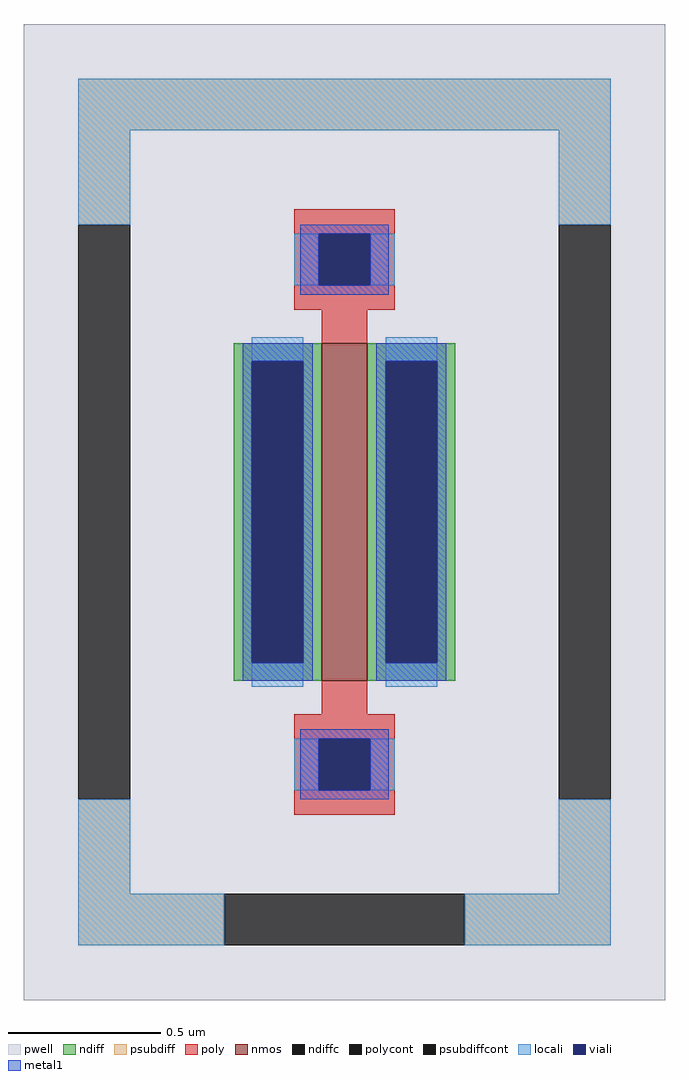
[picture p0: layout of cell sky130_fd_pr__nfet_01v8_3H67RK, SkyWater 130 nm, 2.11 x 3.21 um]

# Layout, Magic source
magic
tech sky130A
magscale 1 2
<< pwell >>
rect -211 -321 211 321
<< nmos >>
rect -15 -111 15 111
<< ndiff >>
rect -73 99 -15 111
rect -73 -99 -61 99
rect -27 -99 -15 99
rect -73 -111 -15 -99
rect 15 99 73 111
rect 15 -99 27 99
rect 61 -99 73 99
rect 15 -111 73 -99
<< ndiffc >>
rect -61 -99 -27 99
rect 27 -99 61 99
<< psubdiff >>
rect -175 251 175 285
rect -175 189 -141 251
rect 141 189 175 251
rect -175 -251 -141 -189
rect 141 -251 175 -189
rect -175 -285 -79 -251
rect 79 -285 175 -251
<< psubdiffcont >>
rect -175 -189 -141 189
rect 141 -189 175 189
rect -79 -285 79 -251
<< poly >>
rect -33 183 33 199
rect -33 149 -17 183
rect 17 149 33 183
rect -33 133 33 149
rect -15 111 15 133
rect -15 -133 15 -111
rect -33 -149 33 -133
rect -33 -183 -17 -149
rect 17 -183 33 -149
rect -33 -199 33 -183
<< polycont >>
rect -17 149 17 183
rect -17 -183 17 -149
<< locali >>
rect -175 251 175 285
rect -175 189 -141 251
rect 141 189 175 251
rect -33 149 -17 183
rect 17 149 33 183
rect -61 99 -27 115
rect -61 -115 -27 -99
rect 27 99 61 115
rect 27 -115 61 -99
rect -33 -183 -17 -149
rect 17 -183 33 -149
rect -175 -251 -141 -189
rect 141 -251 175 -189
rect -175 -285 -79 -251
rect 79 -285 175 -251
<< viali >>
rect -17 149 17 183
rect -61 -99 -27 99
rect 27 -99 61 99
rect -17 -183 17 -149
<< metal1 >>
rect -29 183 29 189
rect -29 149 -17 183
rect 17 149 29 183
rect -29 143 29 149
rect -67 99 -21 111
rect -67 -99 -61 99
rect -27 -99 -21 99
rect -67 -111 -21 -99
rect 21 99 67 111
rect 21 -99 27 99
rect 61 -99 67 99
rect 21 -111 67 -99
rect -29 -149 29 -143
rect -29 -183 -17 -149
rect 17 -183 29 -149
rect -29 -189 29 -183
<< properties >>
string gencell sky130_fd_pr__nfet_01v8
string FIXED_BBOX -158 -268 158 268
string parameters w 1.11 l 0.150 m 1 nf 1 diffcov 100 polycov 100 guard 1 glc 1 grc 1 gtc 0 gbc 1 tbcov 100 rlcov 100 topc 1 botc 1 poverlap 0 doverlap 1 lmin 0.15 wmin 0.42 compatible {sky130_fd_pr__nfet_01v8 sky130_fd_pr__nfet_01v8_lvt  sky130_fd_bs_flash__special_sonosfet_star  sky130_fd_pr__nfet_g5v0d10v5 sky130_fd_pr__nfet_05v0_nvt  sky130_fd_pr__nfet_03v3_nvt} full_metal 1 viasrc 100 viadrn 100 viagate 100 viagb 0 viagr 0 viagl 0 viagt 0
string library sky130
<< end >>
